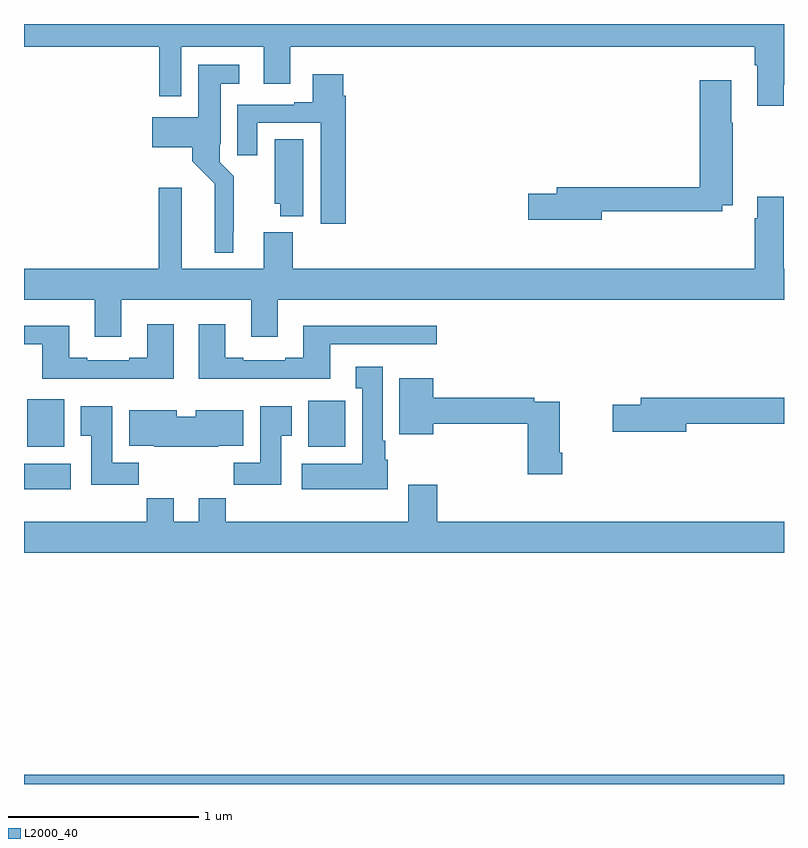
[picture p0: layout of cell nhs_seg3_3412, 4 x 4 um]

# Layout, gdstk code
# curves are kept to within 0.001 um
import gdstk
lib = gdstk.Library(unit=1e-6, precision=1e-09)
def R(c, l, rs):  # rectangles x0, y0, x1, y1
    for r in rs: c.add(gdstk.rectangle(r[:2], r[2:], *l))
def P(c, l, *ps):  # polygons
    for p in ps: c.add(gdstk.Polygon(p, *l))
L2000_40 = (2000, 40)

nhs_seg3_3412 = lib.new_cell('nhs_seg3_3412')
R(nhs_seg3_3412, L2000_40, [(289,666.4,293,666.448), (289,667.952,289.246,668.086), (289.017,668.174,289.213,668.424), (290.495,668.174,290.692,668.416)])
P(nhs_seg3_3412, L2000_40, [(289,670.28),(289.711,670.28),(289.711,670.02),(289.827,670.02),(289.827,670.28),(290.261,670.28),(290.261,670.086),(290.401,670.086),(290.401,670.28),(292.847,670.28),(292.847,670.184),(292.859,670.184),(292.859,669.969),(292.999,669.969),(292.999,670.081),(293,670.081),(293,670.4),(289,670.4)],
  [(290.101,669.307),(290.105,669.307),(290.105,669.598),(290.031,669.672),(290.031,669.766),(290.035,669.766),(290.035,670.085),(290.134,670.085),(290.134,670.186),(289.916,670.186),(289.916,669.91),(289.674,669.91),(289.674,669.752),(289.886,669.752),(289.886,669.678),(290.004,669.56),(290.003,669.197),(290.101,669.197)],
  [(290.693,670.022),(290.68,670.022),(290.68,670.135),(290.519,670.135),(290.519,669.988),(290.423,669.988),(290.423,669.975),(290.123,669.975),(290.123,669.708),(290.227,669.708),(290.227,669.879),(290.561,669.879),(290.561,669.348),(290.693,669.348)],
  [(292.042,669.414),(292.674,669.414),(292.674,669.446),(292.731,669.446),(292.731,669.881),(292.723,669.881),(292.723,670.105),(292.556,670.105),(292.556,669.542),(291.803,669.542),(291.803,669.506),(291.654,669.506),(291.654,669.371),(292.042,669.371)],
  [(290.47,669.794),(290.321,669.794),(290.321,669.453),(290.348,669.453),(290.348,669.389),(290.47,669.389)],
  [(289.513,668.948),(290.195,668.948),(290.195,668.754),(290.335,668.754),(290.335,668.948),(293,668.948),(293,669.112),(292.999,669.112),(292.999,669.49),(292.859,669.49),(292.859,669.377),(292.847,669.377),(292.847,669.112),(290.414,669.112),(290.414,669.304),(290.261,669.304),(290.261,669.112),(289.831,669.112),(289.831,669.538),(289.709,669.538),(289.709,669.112),(289,669.112),(289,668.948),(289.373,668.948),(289.373,668.754),(289.513,668.754)],
  [(290.611,668.715),(291.172,668.715),(291.172,668.812),(290.471,668.812),(290.471,668.644),(290.375,668.644),(290.375,668.631),(290.155,668.631),(290.155,668.644),(290.059,668.644),(290.059,668.821),(289.919,668.821),(289.919,668.534),(290.611,668.534)],
  [(289.789,668.821),(289.649,668.821),(289.649,668.644),(289.553,668.644),(289.553,668.631),(289.333,668.631),(289.333,668.644),(289.237,668.644),(289.237,668.812),(289,668.812),(289,668.715),(289.097,668.715),(289.097,668.534),(289.789,668.534)],
  [(290.914,668.106),(290.902,668.106),(290.902,668.206),(290.887,668.206),(290.887,668.596),(290.747,668.596),(290.747,668.483),(290.78,668.483),(290.78,668.086),(290.463,668.086),(290.463,667.952),(290.914,667.952)],
  [(291.833,668.143),(291.82,668.143),(291.82,668.412),(291.686,668.412),(291.686,668.432),(291.154,668.432),(291.154,668.536),(290.975,668.536),(290.975,668.24),(291.154,668.24),(291.154,668.296),(291.65,668.296),(291.65,668.031),(291.833,668.031)],
  [(292.486,668.296),(293,668.296),(293,668.432),(292.247,668.432),(292.247,668.396),(292.098,668.396),(292.098,668.254),(292.486,668.254)],
  [(290.353,668.233),(290.41,668.233),(290.41,668.389),(290.243,668.389),(290.243,668.092),(290.104,668.092),(290.104,667.974),(290.353,667.974)],
  [(289.604,668.092),(289.465,668.092),(289.465,668.389),(289.298,668.389),(289.298,668.233),(289.355,668.233),(289.355,667.974),(289.604,667.974)],
  [(290.022,668.18),(290.155,668.18),(290.155,668.368),(289.904,668.368),(289.904,668.332),(289.804,668.332),(289.804,668.368),(289.553,668.368),(289.553,668.18),(289.686,668.18),(289.686,668.174),(290.022,668.174)],
  [(293,667.78),(291.176,667.78),(291.176,667.975),(291.023,667.975),(291.023,667.78),(290.063,667.78),(290.063,667.904),(289.919,667.904),(289.919,667.78),(289.789,667.78),(289.789,667.904),(289.645,667.904),(289.645,667.78),(289,667.78),(289,667.616),(293,667.616)])

lib.write_gds('nhs_seg3_3412.gds')
